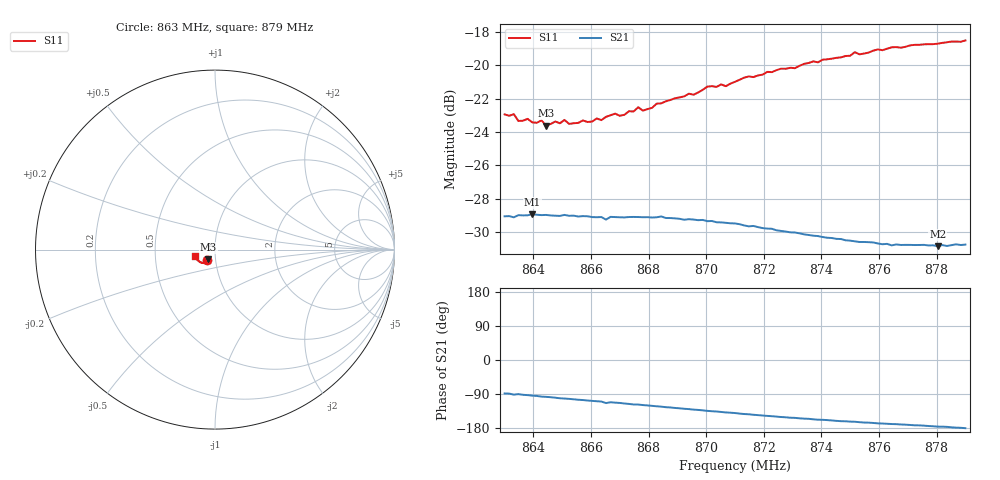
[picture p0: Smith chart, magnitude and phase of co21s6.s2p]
# HZ S RI R 50
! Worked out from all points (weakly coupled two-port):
!   101 points, 863 MHz to 879 MHz, reference 50 ohm
!   highest |S21| = -28.92 dB at 863.96 MHz (marker M1); lowest = -30.8 dB at 878.04 MHz (marker M2)
!   lowest |S11| = -23.6 dB at 864.44 MHz (marker M3), VSWR 1.14, Z = 46.1 - j5.04 ohm
!   |S11| at or under -10 dB: start of sweep to end of sweep
!   S12 and S22 are empty: the file has one direction only
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8.63e8  -0.0446 -0.0557  0.00104 -0.0353  0 0  0 0
8.6332e8  -0.0452 -0.0553  -0.000899 -0.035  0 0  0 0
8.6348e8  -0.0411 -0.0543  -2.8e-05 -0.0356  0 0  0 0
8.638e8  -0.0423 -0.0547  -0.00168 -0.0355  0 0  0 0
8.6396e8  -0.0402 -0.0542  -0.00253 -0.0357  0 0  0 0
8.6428e8  -0.0384 -0.0567  -0.0041 -0.0354  0 0  0 0
8.6444e8  -0.0374 -0.0544  -0.00451 -0.0353  0 0  0 0
8.6508e8  -0.038 -0.0571  -0.00724 -0.0349  0 0  0 0
8.6524e8  -0.0358 -0.0564  -0.00773 -0.0346  0 0  0 0
8.6572e8  -0.0347 -0.0589  -0.00955 -0.034  0 0  0 0
8.6636e8  -0.0349 -0.059  -0.0118 -0.0331  0 0  0 0
8.6684e8  -0.0344 -0.0629  -0.0135 -0.0324  0 0  0 0
8.67e8  -0.0342 -0.0618  -0.0139 -0.0322  0 0  0 0
8.6844e8  -0.0367 -0.0676  -0.0192 -0.0296  0 0  0 0
8.6956e8  -0.0412 -0.0705  -0.0226 -0.0261  0 0  0 0
8.7004e8  -0.0448 -0.0738  -0.0238 -0.0245  0 0  0 0
8.7068e8  -0.0465 -0.073  -0.0252 -0.0224  0 0  0 0
8.71e8  -0.0494 -0.0743  -0.0257 -0.0216  0 0  0 0
8.7372e8  -0.0706 -0.0747  -0.0283 -0.0123  0 0  0 0
8.7644e8  -0.0946 -0.0623  -0.0284 -0.00553  0 0  0 0
8.7804e8  -0.1062 -0.047  -0.0287 -0.0021  0 0  0 0
8.79e8  -0.1127 -0.0375  -0.029 -5.6e-05  0 0  0 0
